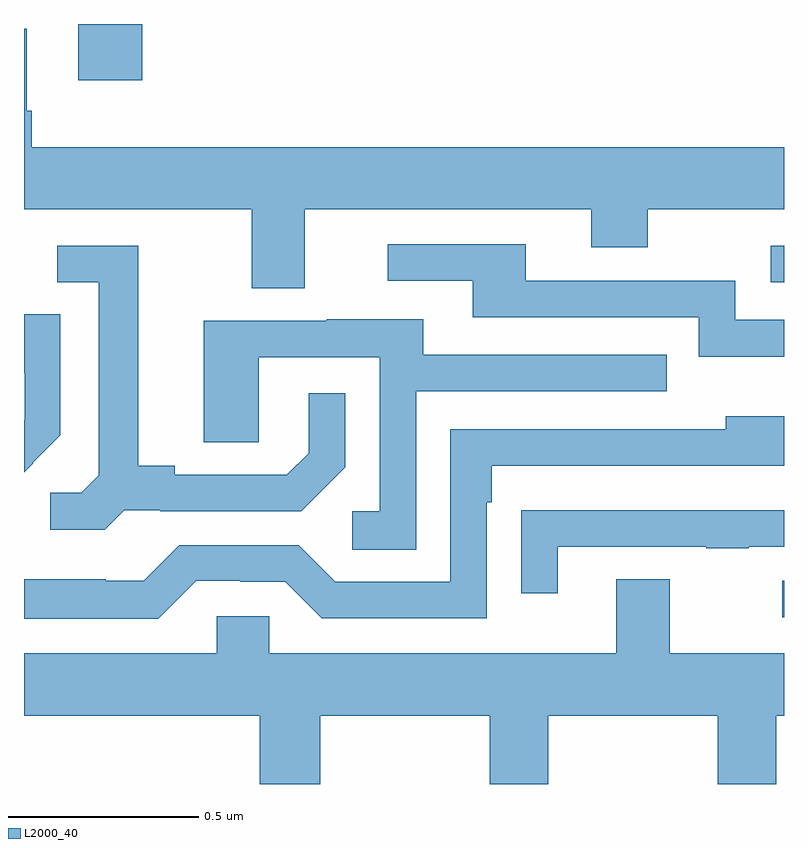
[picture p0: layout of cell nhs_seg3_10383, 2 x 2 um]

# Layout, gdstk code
import gdstk
lib = gdstk.Library(unit=1e-6, precision=1e-09)
def R(c, l, rs):  # rectangles x0, y0, x1, y1
    for r in rs: c.add(gdstk.rectangle(r[:2], r[2:], *l))
def P(c, l, *ps):  # polygons
    for p in ps: c.add(gdstk.Polygon(p, *l))
L2000_40 = (2000, 40)

nhs_seg3_10383 = lib.new_cell('nhs_seg3_10383')
R(nhs_seg3_10383, L2000_40, [(241.995,703.839,242,703.935), (241.965,704.721,242,704.817), (240.143,705.252,240.311,705.4)])
P(nhs_seg3_10383, L2000_40, [(240.739,704.912),(241.493,704.912),(241.493,704.813),(241.641,704.813),(241.641,704.912),(242,704.912),(242,705.076),(240.02,705.076),(240.02,705.172),(240.007,705.172),(240.007,705.388),(240,705.388),(240,704.912),(240.599,704.912),(240.599,704.704),(240.739,704.704)],
  [(242,704.622),(241.872,704.622),(241.872,704.724),(241.321,704.724),(241.321,704.82),(240.957,704.82),(240.957,704.724),(241.181,704.724),(241.181,704.628),(241.776,704.628),(241.776,704.525),(242,704.525)],
  [(240.264,704.121),(240.358,704.121),(240.358,704.118),(240.73,704.118),(240.846,704.234),(240.846,704.428),(240.749,704.428),(240.749,704.271),(240.692,704.214),(240.397,704.214),(240.397,704.237),(240.301,704.237),(240.301,704.817),(240.087,704.817),(240.087,704.721),(240.197,704.721),(240.197,704.213),(240.15,704.166),(240.069,704.166),(240.069,704.069),(240.212,704.069)],
  [(240.024,704.244),(240.023,704.245),(240.096,704.318),(240.096,704.636),(240,704.636),(240,704.482),(240.002,704.482),(240.002,704.36),(240,704.358),(240,704.22)],
  [(241.032,704.433),(241.691,704.433),(241.691,704.529),(241.051,704.529),(241.051,704.623),(240.797,704.623),(240.797,704.619),(240.473,704.619),(240.473,704.299),(240.618,704.299),(240.618,704.523),(240.936,704.523),(240.936,704.118),(240.864,704.118),(240.864,704.017),(241.032,704.017)],
  [(240.453,703.935),(240.569,703.935),(240.569,703.932),(240.687,703.932),(240.783,703.836),(241.218,703.836),(241.218,704.141),(241.231,704.141),(241.231,704.238),(242,704.238),(242,704.368),(241.847,704.368),(241.847,704.334),(241.122,704.334),(241.122,703.932),(240.819,703.932),(240.723,704.028),(240.408,704.028),(240.315,703.935),(240.215,703.935),(240.215,703.939),(240,703.939),(240,703.835),(240.353,703.835)],
  [(241.405,704.025),(241.795,704.025),(241.795,704.02),(241.907,704.02),(241.907,704.025),(242,704.025),(242,704.121),(241.411,704.121),(241.411,704.12),(241.309,704.12),(241.309,703.902),(241.405,703.902)],
  [(240.78,703.58),(241.225,703.58),(241.225,703.4),(241.38,703.4),(241.38,703.58),(241.825,703.58),(241.825,703.4),(241.98,703.4),(241.98,703.58),(242,703.58),(242,703.744),(241.699,703.744),(241.699,703.939),(241.559,703.939),(241.559,703.744),(240.645,703.744),(240.645,703.842),(240.507,703.842),(240.507,703.744),(240,703.744),(240,703.58),(240.62,703.58),(240.62,703.4),(240.78,703.4)])

lib.write_gds('nhs_seg3_10383.gds')
